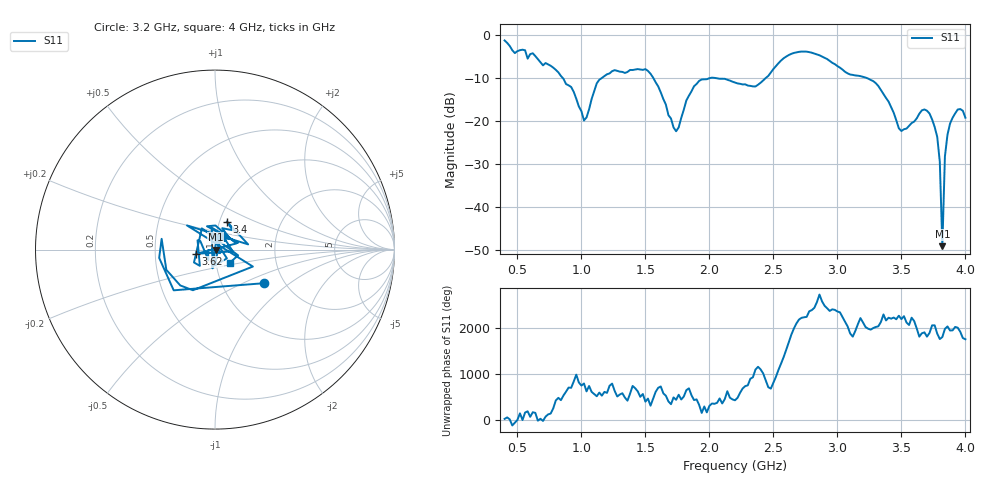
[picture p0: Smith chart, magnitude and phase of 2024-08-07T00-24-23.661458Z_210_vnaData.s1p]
!Created with skrf (http://scikit-rf.org).
# Hz S RI R 50.0
!freq ReS11 ImS11
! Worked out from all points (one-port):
!   181 points, 400 MHz to 4 GHz, reference 50 ohm
!   lowest |S11| = -49.0 dB at 3.82 GHz (marker M1), VSWR 1.01, Z = 50.4 + j0.0482 ohm
!   |S11| at or under -10 dB: 1.564 GHz to 1.996 GHz (432.8 MHz wide, 24.3 % of centre); 2.062 GHz to 2.437 GHz (375.5 MHz wide, 16.7 % of centre); 3.236 GHz to end of sweep (the widest 3 of 4)
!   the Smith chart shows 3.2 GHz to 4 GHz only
!   S11 on the Smith chart (normalised r, x): 3.2 GHz: 1.57, -0.66; 3.4 GHz: 1.08, +0.35; 3.62 GHz: 0.81, -0.04; 4 GHz: 1.17, -0.17
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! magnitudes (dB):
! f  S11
! 400 MHz  -1.2
! 860 MHz  -10.1
! 940 MHz  -13.1
! 1.02 GHz  -19.8
! 1.14 GHz  -10.3
! 1.3 GHz  -8.4
! 1.52 GHz  -8.3
! 1.72 GHz  -21.4
! 1.76 GHz  -21.4
! 1.82 GHz  -15.1
! 1.92 GHz  -10.6
! 2.2 GHz  -11.0
! 2.36 GHz  -11.9
! 2.66 GHz  -4.1
! 3.1 GHz  -9.1
! 3.2 GHz  -9.6
! 3.4 GHz  -15.4
! 3.48 GHz  -21.6
! 3.56 GHz  -21.1
! 3.62 GHz  -19.3
! 3.7 GHz  -17.5
! 3.78 GHz  -23.6
! 3.8 GHz  -29.4
! 3.82 GHz  -49.0
! 3.84 GHz  -28.2
! 3.86 GHz  -23.1
! 3.94 GHz  -17.2
! 4 GHz  -19.1
